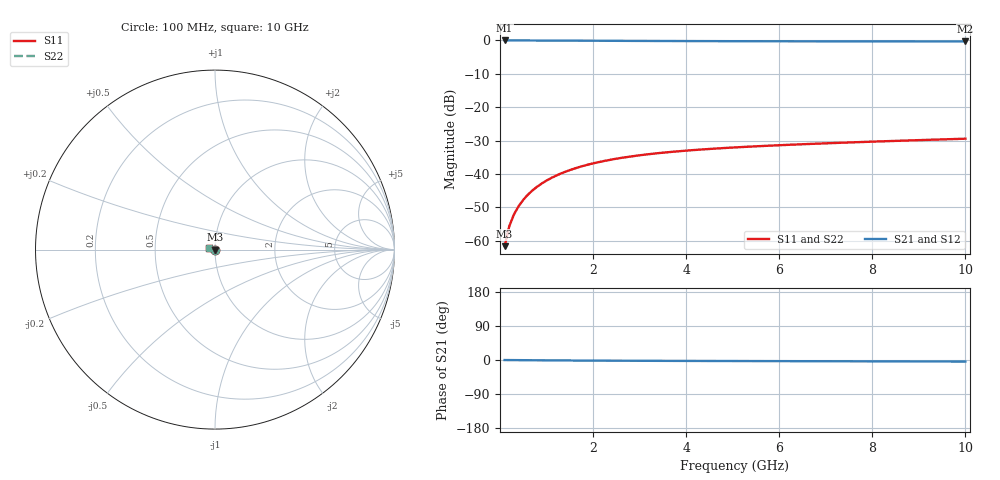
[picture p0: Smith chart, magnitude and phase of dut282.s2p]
! Touchstone file exported from HFSS 2024.1.0
!  File:  C:/UserFiles/LocalFiles/RDL_TSV_Batchsim/temp_TSV1_282_1779393405.aedt
!  Generated:  04:03:04 AM May 22, 2026
!  Design:  TSV1
!  Project:  temp_TSV1_282_1779393405
!  Setup:  Setup1
!  Solution:  Sweep
! Variables:
!  dtsv = 9.54um
!  hbump = 3um
!  htsv = 59.31um
!  lrdl = 252.1521522um
!  p = 40
!  p1 = 56.29um
!  t = 500um
!  trdl = 3um
!  wrdl = 24.89489489um
# GHz S MA R 50.000000
! Terminal data exported
! Port[1] = TSV22_T1
! Port[2] = TSV22_T2
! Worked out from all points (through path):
!   100 points, 100 MHz to 10 GHz, reference 50 ohm
!   highest |S21| = 0.00 dB at 100 MHz (marker M1); lowest = -0.3 dB at 10 GHz (marker M2)
!   lowest |S11| = -61.6 dB at 100 MHz (marker M3), VSWR 1.00, Z = 50 - j0.0826 ohm
!   |S11| at or under -10 dB: start of sweep to end of sweep
!   |S22| runs from -61.6 to -29.4 dB; largest |S21 - S12| = 3.3e-15
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0.1  0.0008318 -82.9  0.9998 -0.1  0.9998 -0.1  0.0008318 -82.9
! Gamma 0 0 0 0
! Port Impedance 50 0 50 0
0.2  0.001653 -89.4  0.9997 -0.2  0.9997 -0.2  0.001653 -89.4
0.3  0.002476 -93.1  0.9996 -0.3  0.9996 -0.3  0.002476 -93.1
0.4  0.003294 -96.0  0.9993 -0.4  0.9993 -0.4  0.003294 -96.0
0.5  0.004105 -98.6  0.999 -0.5  0.999 -0.5  0.004105 -98.6
0.6  0.004906 -101.0  0.9987 -0.6  0.9987 -0.6  0.004906 -101.0
0.7  0.005696 -103.4  0.9983 -0.7  0.9983 -0.7  0.005696 -103.4
0.8  0.006472 -105.6  0.9979 -0.7  0.9979 -0.7  0.006472 -105.6
0.9  0.007233 -107.8  0.9974 -0.8  0.9974 -0.8  0.007233 -107.8
1.1  0.008709 -112.0  0.9963 -1.0  0.9963 -1.0  0.008709 -112.0
1.4  0.01079 -118.0  0.9945 -1.2  0.9945 -1.2  0.01079 -118.0
1.6  0.01208 -121.8  0.9932 -1.4  0.9932 -1.4  0.01208 -121.8
1.8  0.01329 -125.4  0.9919 -1.5  0.9919 -1.5  0.01329 -125.4
2.1  0.01497 -130.6  0.9898 -1.7  0.9898 -1.7  0.01497 -130.6
2.5  0.01696 -137.0  0.9871 -1.9  0.9871 -1.9  0.01696 -137.0
2.9  0.01868 -142.9  0.9846 -2.0  0.9846 -2.0  0.01868 -142.9
3.4  0.02053 -149.5  0.9817 -2.2  0.9817 -2.2  0.02053 -149.5
4.2  0.02295 -158.8  0.9779 -2.5  0.9779 -2.5  0.02295 -158.8
5.1  0.02514 -167.7  0.9745 -2.8  0.9745 -2.8  0.02514 -167.7
6.7  0.02829 179.4  0.9704 -3.2  0.9704 -3.2  0.02829 179.4
8.4  0.03119 168.5  0.9676 -3.6  0.9676 -3.6  0.03119 168.5
10  0.03381 160.1  0.9658 -4.1  0.9658 -4.1  0.03381 160.1
